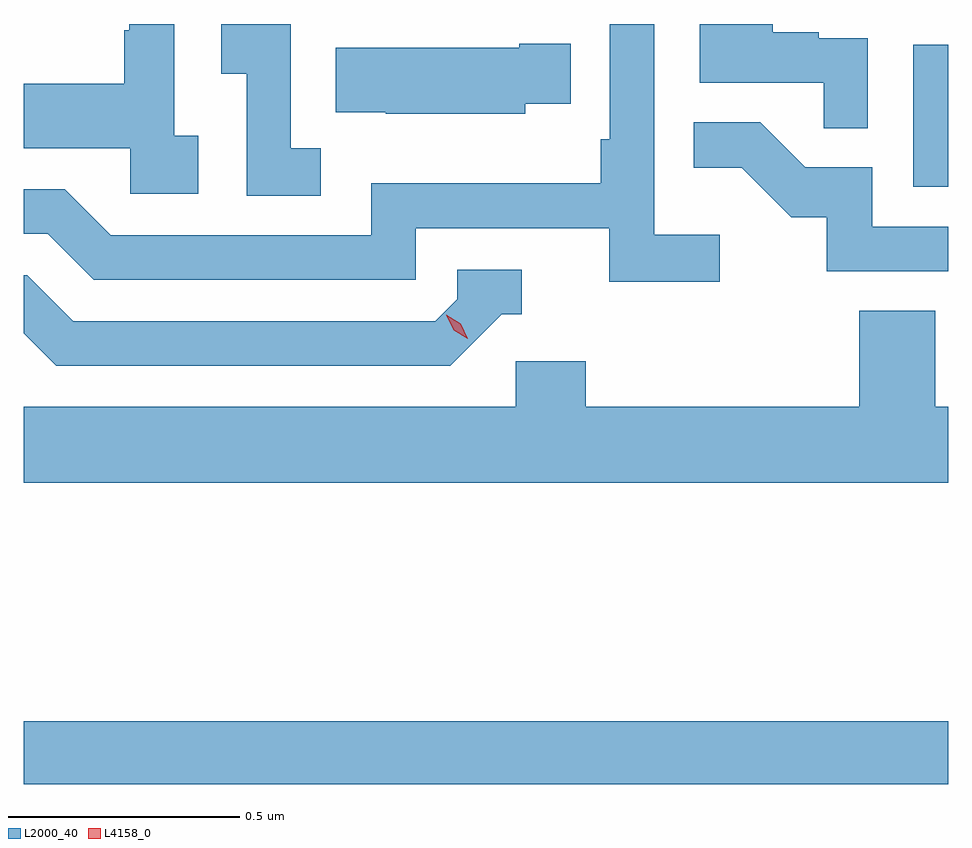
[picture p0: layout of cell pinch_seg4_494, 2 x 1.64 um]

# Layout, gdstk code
import gdstk
lib = gdstk.Library(unit=1e-6, precision=1e-09)
def R(c, l, rs):  # rectangles x0, y0, x1, y1
    for r in rs: c.add(gdstk.rectangle(r[:2], r[2:], *l))
def P(c, l, *ps):  # polygons
    for p in ps: c.add(gdstk.Polygon(p, *l))
L2000_40 = (2000, 40)
L4158_0 = (4158, 0)

pinch_seg4_494 = lib.new_cell('pinch_seg4_494')
R(pinch_seg4_494, L2000_40, [(924.676,758.872,926.676,759.008), (926.6,760.164,926.676,760.471)])
P(pinch_seg4_494, L2000_40, [(926.182,760.06),(926.04,760.06),(926.04,760.516),(925.944,760.516),(925.944,760.267),(925.924,760.267),(925.924,760.171),(925.428,760.171),(925.428,760.059),(924.864,760.059),(924.765,760.158),(924.676,760.158),(924.676,760.062),(924.728,760.062),(924.827,759.963),(925.524,759.963),(925.524,760.074),(925.943,760.074),(925.943,759.958),(926.182,759.958)],
  [(925.318,760.247),(925.254,760.247),(925.254,760.516),(925.103,760.516),(925.103,760.408),(925.158,760.408),(925.158,760.144),(925.318,760.144)],
  [(925.054,760.274),(925.002,760.274),(925.002,760.516),(924.904,760.516),(924.904,760.502),(924.894,760.502),(924.894,760.387),(924.676,760.387),(924.676,760.247),(924.906,760.247),(924.906,760.149),(925.054,760.149)],
  [(926.502,760.485),(926.396,760.485),(926.396,760.498),(926.296,760.498),(926.296,760.516),(926.138,760.516),(926.138,760.389),(926.407,760.389),(926.407,760.291),(926.502,760.291)],
  [(925.761,760.343),(925.859,760.343),(925.859,760.473),(925.748,760.473),(925.748,760.465),(925.351,760.465),(925.351,760.325),(925.459,760.325),(925.459,760.322),(925.761,760.322)],
  [(926.676,760.077),(926.511,760.077),(926.511,760.206),(926.367,760.206),(926.269,760.304),(926.125,760.304),(926.125,760.205),(926.229,760.205),(926.336,760.098),(926.413,760.098),(926.413,759.981),(926.676,759.981)],
  [(925.71,759.888),(925.753,759.888),(925.753,759.984),(925.614,759.984),(925.614,759.921),(925.566,759.873),(924.783,759.873),(924.684,759.972),(924.676,759.972),(924.676,759.847),(924.746,759.777),(925.599,759.777)],
  [(926.676,759.688),(926.648,759.688),(926.648,759.896),(926.483,759.896),(926.483,759.688),(925.892,759.688),(925.892,759.786),(925.74,759.786),(925.74,759.688),(924.676,759.688),(924.676,759.524),(926.676,759.524)])
P(pinch_seg4_494, L4158_0, [(925.636,759.835),(925.606,759.854),(925.59,759.887),(925.59,759.887),(925.59,759.887),(925.621,759.868),(925.637,759.835),(925.637,759.835)])

lib.write_gds('pinch_seg4_494.gds')
